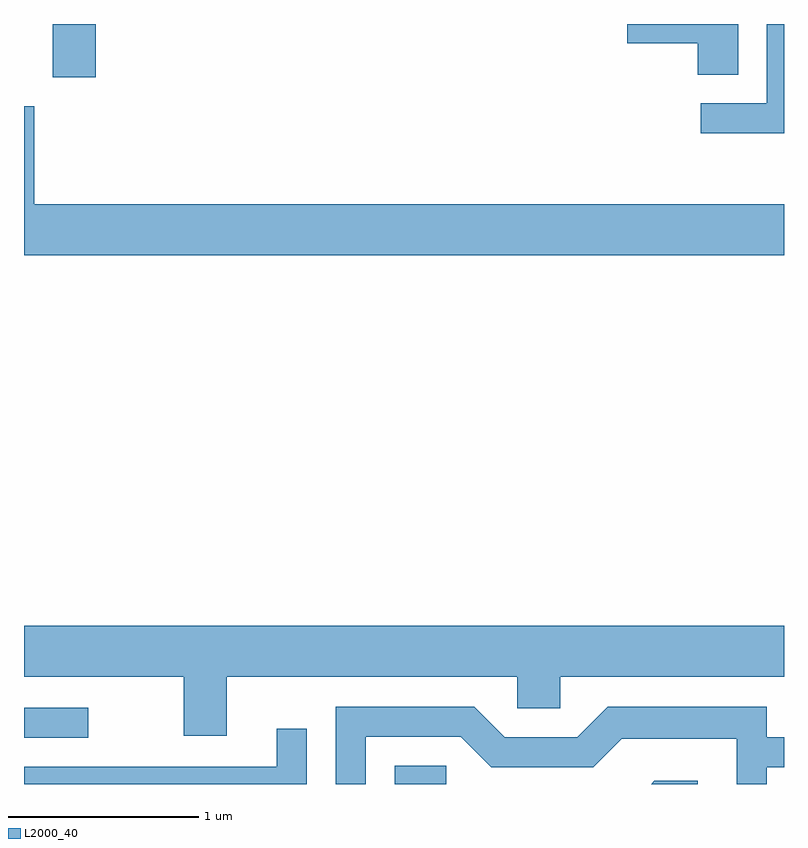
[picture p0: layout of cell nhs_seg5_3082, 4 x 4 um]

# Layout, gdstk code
import gdstk
lib = gdstk.Library(unit=1e-6, precision=1e-09)
def R(c, l, rs):  # rectangles x0, y0, x1, y1
    for r in rs: c.add(gdstk.rectangle(r[:2], r[2:], *l))
def P(c, l, *ps):  # polygons
    for p in ps: c.add(gdstk.Polygon(p, *l))
L2000_40 = (2000, 40)

nhs_seg5_3082 = lib.new_cell('nhs_seg5_3082')
R(nhs_seg5_3082, L2000_40, [(279.561,1394.072,279.833,1394.169), (277.611,1394.316,277.948,1394.474), (277.761,1397.791,277.989,1398.072)])
P(nhs_seg5_3082, L2000_40, [(281.611,1398.072),(281.521,1398.072),(281.521,1397.654),(281.173,1397.654),(281.173,1397.496),(281.611,1397.496)],
  [(281.369,1398.072),(280.786,1398.072),(280.786,1397.971),(281.156,1397.971),(281.156,1397.806),(281.369,1397.806)],
  [(281.611,1397.124),(277.664,1397.124),(277.664,1397.639),(277.611,1397.639),(277.611,1396.856),(281.611,1396.856)],
  [(278.679,1394.636),(280.206,1394.636),(280.206,1394.471),(280.434,1394.471),(280.434,1394.636),(281.611,1394.636),(281.611,1394.904),(277.611,1394.904),(277.611,1394.636),(278.451,1394.636),(278.451,1394.326),(278.679,1394.326)],
  [(279.409,1394.321),(279.909,1394.321),(280.069,1394.161),(280.607,1394.161),(280.757,1394.311),(281.361,1394.311),(281.361,1394.072),(281.519,1394.072),(281.519,1394.161),(281.611,1394.161),(281.611,1394.319),(281.519,1394.319),(281.519,1394.479),(280.684,1394.479),(280.524,1394.319),(280.142,1394.319),(279.982,1394.479),(279.251,1394.479),(279.251,1394.072),(279.409,1394.072)],
  [(279.099,1394.363),(278.941,1394.363),(278.941,1394.164),(277.611,1394.164),(277.611,1394.072),(279.099,1394.072)],
  [(281.158,1394.089),(280.929,1394.089),(280.912,1394.072),(281.158,1394.072)])

lib.write_gds('nhs_seg5_3082.gds')
